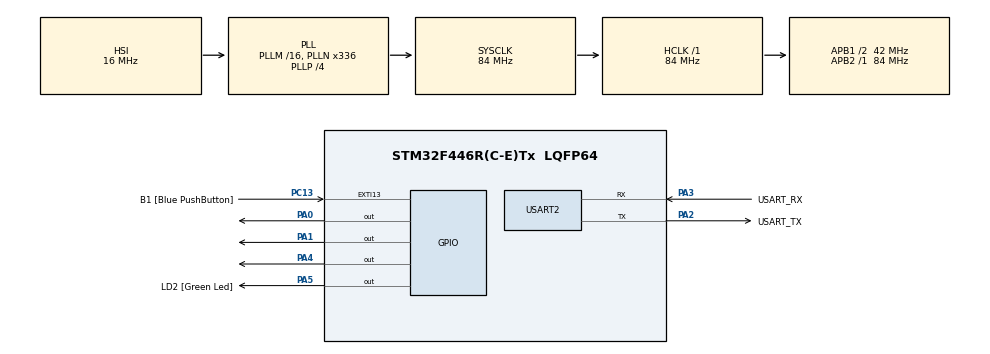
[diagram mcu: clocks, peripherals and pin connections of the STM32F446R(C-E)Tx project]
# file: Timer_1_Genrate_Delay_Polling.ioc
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Mcu.Family=STM32F4
Mcu.Name=STM32F446R(C-E)Tx
Mcu.Package=LQFP64
NVIC.PriorityGroup=NVIC_PRIORITYGROUP_0
PA0-WKUP.Signal=GPIO_Output
PA1.Signal=GPIO_Output
PA13.GPIO_Label=TMS
PA13.Mode=Serial_Wire
PA13.Signal=SYS_JTMS-SWDIO
PA14.GPIO_Label=TCK
PA14.Mode=Serial_Wire
PA14.Signal=SYS_JTCK-SWCLK
PA2.GPIO_Label=USART_TX
PA2.Mode=Asynchronous
PA2.Signal=USART2_TX
PA3.GPIO_Label=USART_RX
PA3.Mode=Asynchronous
PA3.Signal=USART2_RX
PA4.Signal=GPIO_Output
PA5.GPIO_Label=LD2 [Green Led]
PA5.Signal=GPIO_Output
PC13.GPIO_Label=B1 [Blue PushButton]
PC13.GPIO_ModeDefaultEXTI=GPIO_MODE_IT_FALLING
PC13.Signal=GPXTI13
PC14-OSC32_IN.Mode=LSE-External-Oscillator
PC14-OSC32_IN.Signal=RCC_OSC32_IN
PC15-OSC32_OUT.Mode=LSE-External-Oscillator
PC15-OSC32_OUT.Signal=RCC_OSC32_OUT
PH0-OSC_IN.Mode=HSE-External-Oscillator
PH0-OSC_IN.Signal=RCC_OSC_IN
PH1-OSC_OUT.Mode=HSE-External-Oscillator
PH1-OSC_OUT.Signal=RCC_OSC_OUT
ProjectManager.HeapSize=0x200
ProjectManager.StackSize=0x400
ProjectManager.TargetToolchain=STM32CubeIDE
RCC.48MHZClocksFreq_Value=84000000
RCC.AHBFreq_Value=84000000
RCC.APB1CLKDivider=RCC_HCLK_DIV2
RCC.APB1Freq_Value=42000000
RCC.APB1TimFreq_Value=84000000
RCC.APB2Freq_Value=84000000
RCC.APB2TimFreq_Value=84000000
RCC.CortexFreq_Value=84000000
RCC.FLatency-AdvancedSettings=FLASH_LATENCY_2
RCC.HCLKFreq_Value=84000000
RCC.HSE_VALUE=8000000
RCC.HSI_VALUE=16000000
RCC.PLLN=336
RCC.PLLP=RCC_PLLP_DIV4
RCC.SYSCLKFreq_VALUE=84000000
RCC.SYSCLKSource=RCC_SYSCLKSOURCE_PLLCLK
RCC.USBFreq_Value=168000000
RCC.VCOOutputFreq_Value=336000000
TIM1.AutoReloadPreload=TIM_AUTORELOAD_PRELOAD_ENABLE
TIM1.Period=1000
TIM1.Prescaler=84-1
USART2.VirtualMode=VM_ASYNC
VP_TIM1_VS_ClockSourceINT.Mode=Internal
board=NUCLEO-F446RE

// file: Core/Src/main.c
/* USER CODE BEGIN Header */
/**
  ******************************************************************************
  * @file           : main.c
  * @brief          : Main program body
  ******************************************************************************
  * @attention
  *
  * Copyright (c) 2024 STMicroelectronics.
  * All rights reserved.
  *
  * This software is licensed under terms that can be found in the LICENSE file
  * in the root directory of this software component.
  * If no LICENSE file comes with this software, it is provided AS-IS.
  *
  ******************************************************************************
  */
/* USER CODE END Header */
#include "main.h"

TIM_HandleTypeDef htim1;

UART_HandleTypeDef huart2;

/* USER CODE BEGIN PV */
uint16_t counter1 = 0;
uint16_t counter2 = 0;
uint16_t counter3 = 0;
uint16_t counter4 = 0;
/* USER CODE END PV */

void SystemClock_Config(void);
static void MX_GPIO_Init(void);
static void MX_USART2_UART_Init(void);
static void MX_TIM1_Init(void);

/* USER CODE BEGIN 0 */

void Timer1_Delaymx() {

	while(__HAL_TIM_GET_FLAG(&htim1, TIM_FLAG_UPDATE) == RESET)
	{
			// Add a small delay or low-power wait here if needed
	}

	 __HAL_TIM_CLEAR_FLAG(&htim1, TIM_FLAG_UPDATE);
	 counter1++;
	 counter2++;
	 counter3++;
	 counter4++;

}
/* USER CODE END 0 */

int main(void)
{

  /* MCU Configuration--------------------------------------------------------*/

  /* Reset of all peripherals, Initializes the Flash interface and the Systick. */
  HAL_Init();

  /* Configure the system clock */
  SystemClock_Config();

  /* Initialize all configured peripherals */
  MX_GPIO_Init();
  MX_USART2_UART_Init();
  MX_TIM1_Init();
  /* USER CODE BEGIN 2 */
  HAL_TIM_Base_Start(&htim1);
  /* USER CODE END 2 */

  /* Infinite loop */
  /* USER CODE BEGIN WHILE */
  while (1)
  {
	  Timer1_Delaymx();
	  if(counter1 == 100) {

		  HAL_GPIO_TogglePin(GPIOA, GPIO_PIN_0);
		  counter1 = 0;
	  }

	  if(counter2 == 300) {

		  HAL_GPIO_TogglePin(GPIOA, GPIO_PIN_5);
		  counter2 = 0;
	  }

	  if(counter3 == 500) {

		  HAL_GPIO_TogglePin(GPIOA, GPIO_PIN_1);
		  counter3 = 0;
	  }

	  if(counter4 == 900) {

		  HAL_GPIO_TogglePin(GPIOA, GPIO_PIN_4);
		  counter4 = 0;
	  }

    /* USER CODE END WHILE */

  }
}

void SystemClock_Config(void)
{
  RCC_OscInitTypeDef RCC_OscInitStruct = {0};
  RCC_ClkInitTypeDef RCC_ClkInitStruct = {0};

  /** Configure the main internal regulator output voltage
  */
  __HAL_RCC_PWR_CLK_ENABLE();
  __HAL_PWR_VOLTAGESCALING_CONFIG(PWR_REGULATOR_VOLTAGE_SCALE3);

  /** Initializes the RCC Oscillators according to the specified parameters
  * in the RCC_OscInitTypeDef structure.
  */
  RCC_OscInitStruct.OscillatorType = RCC_OSCILLATORTYPE_HSI;
  RCC_OscInitStruct.HSIState = RCC_HSI_ON;
  RCC_OscInitStruct.HSICalibrationValue = RCC_HSICALIBRATION_DEFAULT;
  RCC_OscInitStruct.PLL.PLLState = RCC_PLL_ON;
  RCC_OscInitStruct.PLL.PLLSource = RCC_PLLSOURCE_HSI;
  RCC_OscInitStruct.PLL.PLLM = 16;
  RCC_OscInitStruct.PLL.PLLN = 336;
  RCC_OscInitStruct.PLL.PLLP = RCC_PLLP_DIV4;
  RCC_OscInitStruct.PLL.PLLQ = 2;
  RCC_OscInitStruct.PLL.PLLR = 2;
  if (HAL_RCC_OscConfig(&RCC_OscInitStruct) != HAL_OK)
  {
    Error_Handler();
  }

  /** Initializes the CPU, AHB and APB buses clocks
  */
  RCC_ClkInitStruct.ClockType = RCC_CLOCKTYPE_HCLK|RCC_CLOCKTYPE_SYSCLK
                              |RCC_CLOCKTYPE_PCLK1|RCC_CLOCKTYPE_PCLK2;
  RCC_ClkInitStruct.SYSCLKSource = RCC_SYSCLKSOURCE_PLLCLK;
  RCC_ClkInitStruct.AHBCLKDivider = RCC_SYSCLK_DIV1;
  RCC_ClkInitStruct.APB1CLKDivider = RCC_HCLK_DIV2;
  RCC_ClkInitStruct.APB2CLKDivider = RCC_HCLK_DIV1;

  if (HAL_RCC_ClockConfig(&RCC_ClkInitStruct, FLASH_LATENCY_2) != HAL_OK)
  {
    Error_Handler();
  }
}

static void MX_TIM1_Init(void)
{

  TIM_ClockConfigTypeDef sClockSourceConfig = {0};
  TIM_MasterConfigTypeDef sMasterConfig = {0};

  htim1.Instance = TIM1;
  htim1.Init.Prescaler = 84-1;
  htim1.Init.CounterMode = TIM_COUNTERMODE_UP;
  htim1.Init.Period = 1000;
  htim1.Init.ClockDivision = TIM_CLOCKDIVISION_DIV1;
  htim1.Init.RepetitionCounter = 0;
  htim1.Init.AutoReloadPreload = TIM_AUTORELOAD_PRELOAD_ENABLE;
  if (HAL_TIM_Base_Init(&htim1) != HAL_OK)
  {
    Error_Handler();
  }
  sClockSourceConfig.ClockSource = TIM_CLOCKSOURCE_INTERNAL;
  if (HAL_TIM_ConfigClockSource(&htim1, &sClockSourceConfig) != HAL_OK)
  {
    Error_Handler();
  }
  sMasterConfig.MasterOutputTrigger = TIM_TRGO_RESET;
  sMasterConfig.MasterSlaveMode = TIM_MASTERSLAVEMODE_DISABLE;
  if (HAL_TIMEx_MasterConfigSynchronization(&htim1, &sMasterConfig) != HAL_OK)
  {
    Error_Handler();
  }

}

static void MX_USART2_UART_Init(void)
{

  huart2.Instance = USART2;
  huart2.Init.BaudRate = 115200;
  huart2.Init.WordLength = UART_WORDLENGTH_8B;
  huart2.Init.StopBits = UART_STOPBITS_1;
  huart2.Init.Parity = UART_PARITY_NONE;
  huart2.Init.Mode = UART_MODE_TX_RX;
  huart2.Init.HwFlowCtl = UART_HWCONTROL_NONE;
  huart2.Init.OverSampling = UART_OVERSAMPLING_16;
  if (HAL_UART_Init(&huart2) != HAL_OK)
  {
    Error_Handler();
  }

}

static void MX_GPIO_Init(void)
{
  GPIO_InitTypeDef GPIO_InitStruct = {0};

  /* GPIO Ports Clock Enable */
  __HAL_RCC_GPIOC_CLK_ENABLE();
  __HAL_RCC_GPIOH_CLK_ENABLE();
  __HAL_RCC_GPIOA_CLK_ENABLE();

  /*Configure GPIO pin Output Level */
  HAL_GPIO_WritePin(GPIOA, GPIO_PIN_0|GPIO_PIN_1|GPIO_PIN_4|LD2_Pin, GPIO_PIN_RESET);

  /*Configure GPIO pin : B1_Pin */
  GPIO_InitStruct.Pin = B1_Pin;
  GPIO_InitStruct.Mode = GPIO_MODE_IT_FALLING;
  GPIO_InitStruct.Pull = GPIO_NOPULL;
  HAL_GPIO_Init(B1_GPIO_Port, &GPIO_InitStruct);

  /*Configure GPIO pins : PA0 PA1 PA4 LD2_Pin */
  GPIO_InitStruct.Pin = GPIO_PIN_0|GPIO_PIN_1|GPIO_PIN_4|LD2_Pin;
  GPIO_InitStruct.Mode = GPIO_MODE_OUTPUT_PP;
  GPIO_InitStruct.Pull = GPIO_NOPULL;
  GPIO_InitStruct.Speed = GPIO_SPEED_FREQ_LOW;
  HAL_GPIO_Init(GPIOA, &GPIO_InitStruct);

}

void Error_Handler(void)
{
  __disable_irq();
  while (1)
  {
  }
}
